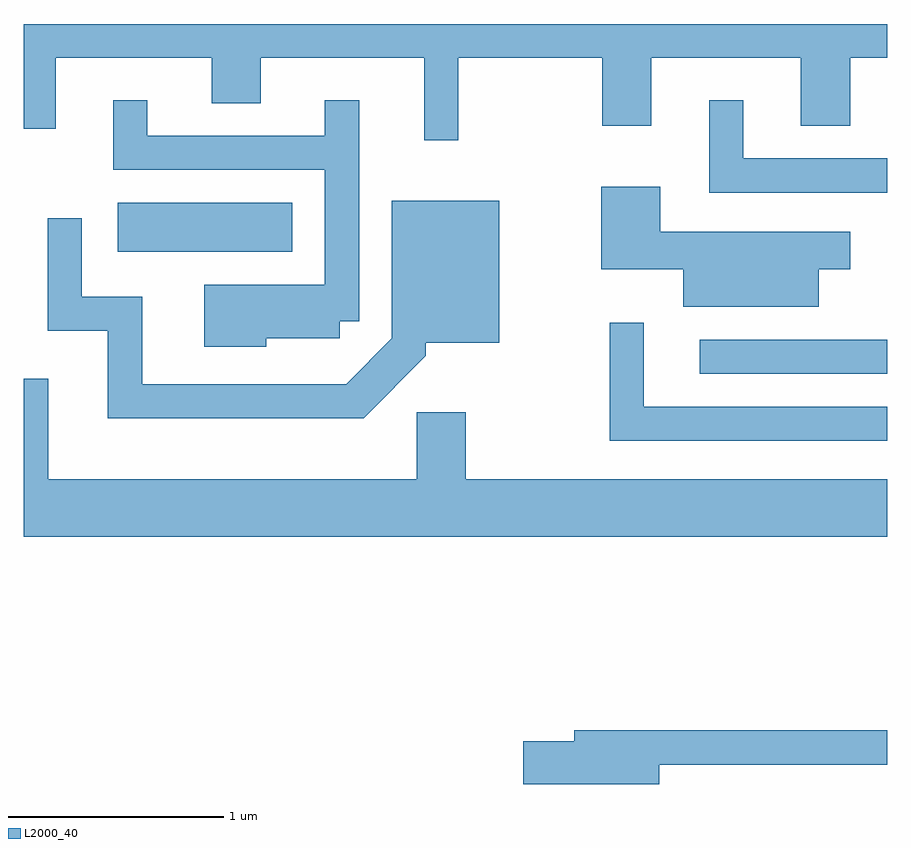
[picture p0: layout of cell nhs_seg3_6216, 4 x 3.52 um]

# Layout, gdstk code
import gdstk
lib = gdstk.Library(unit=1e-6, precision=1e-09)
def R(c, l, rs):  # rectangles x0, y0, x1, y1
    for r in rs: c.add(gdstk.rectangle(r[:2], r[2:], *l))
def P(c, l, *ps):  # polygons
    for p in ps: c.add(gdstk.Polygon(p, *l))
L2000_40 = (2000, 40)

nhs_seg3_6216 = lib.new_cell('nhs_seg3_6216')
R(nhs_seg3_6216, L2000_40, [(370.743,1182.271,371.611,1182.429), (368.046,1182.836,368.854,1183.064)])
P(nhs_seg3_6216, L2000_40, [(369.624,1183.736),(370.291,1183.736),(370.291,1183.421),(370.519,1183.421),(370.519,1183.736),(371.211,1183.736),(371.211,1183.421),(371.439,1183.421),(371.439,1183.736),(371.611,1183.736),(371.611,1183.892),(367.611,1183.892),(367.611,1183.406),(367.759,1183.406),(367.759,1183.736),(368.481,1183.736),(368.481,1183.526),(368.709,1183.526),(368.709,1183.736),(369.466,1183.736),(369.466,1183.353),(369.624,1183.353)],
  [(371.611,1183.269),(370.944,1183.269),(370.944,1183.538),(370.786,1183.538),(370.786,1183.111),(371.611,1183.111)],
  [(368.734,1182.436),(369.074,1182.436),(369.074,1182.516),(369.164,1182.516),(369.164,1183.538),(369.006,1183.538),(369.006,1183.374),(368.184,1183.374),(368.184,1183.538),(368.026,1183.538),(368.026,1183.216),(369.006,1183.216),(369.006,1182.684),(368.446,1182.684),(368.446,1182.396),(368.734,1182.396)],
  [(371.294,1182.756),(371.439,1182.756),(371.439,1182.929),(370.559,1182.929),(370.559,1183.139),(370.286,1183.139),(370.286,1182.756),(370.666,1182.756),(370.666,1182.581),(371.294,1182.581)],
  [(369.474,1182.354),(369.474,1182.416),(369.814,1182.416),(369.814,1183.074),(369.316,1183.074),(369.316,1182.437),(369.104,1182.224),(368.159,1182.224),(368.159,1182.629),(367.879,1182.629),(367.879,1182.993),(367.721,1182.993),(367.721,1182.471),(368.001,1182.471),(368.001,1182.066),(369.187,1182.066)],
  [(371.611,1182.119),(370.484,1182.119),(370.484,1182.508),(370.326,1182.508),(370.326,1181.961),(371.611,1181.961)],
  [(371.611,1181.784),(369.659,1181.784),(369.659,1182.094),(369.431,1182.094),(369.431,1181.784),(367.724,1181.784),(367.724,1182.248),(367.611,1182.248),(367.611,1181.516),(371.611,1181.516)],
  [(370.554,1180.461),(371.611,1180.461),(371.611,1180.619),(370.161,1180.619),(370.161,1180.569),(369.926,1180.569),(369.926,1180.371),(370.554,1180.371)])

lib.write_gds('nhs_seg3_6216.gds')
